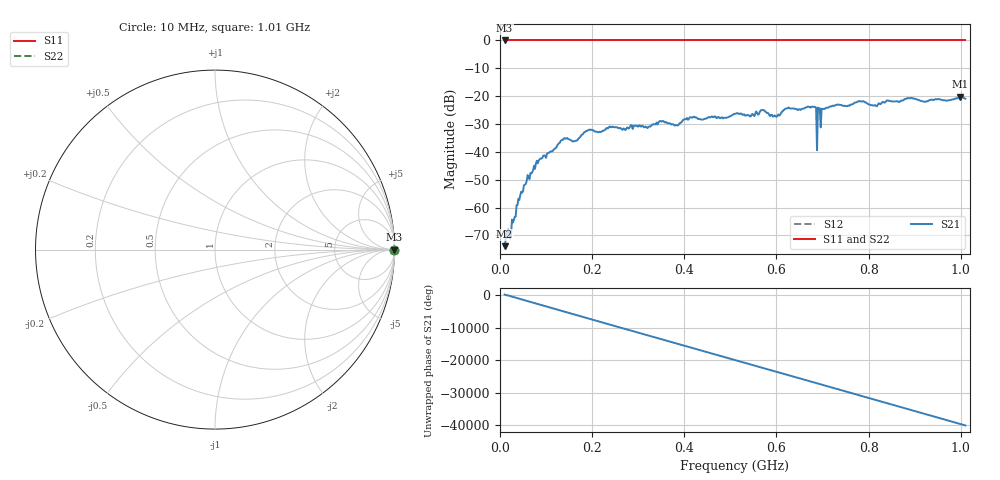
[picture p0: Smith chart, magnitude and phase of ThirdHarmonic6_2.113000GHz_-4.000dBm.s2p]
! 8/17/2025 1:15:55 AM
! C:\ANRITSUVNA\TEMP\TEMP.S2P
! CHANNEL.1
! TR.MEASUREMENT
! RAW.DATA
! RF.CORRECTION.OFF
! AVERAGING.OFF
! IF.BANDWIDTH: 5KHZ
! SWEEPTYPE:  FREQ.SWEEP(Linear)
! Reference Plane Port Info
! PORT:  PORT1  PORT2
! DISTANCE:  0  m  0  m
! TIME:  0  s  0  s
! PHASE.OFFSET:  0  deg.  0  deg.
! LOSS:  0  dB  0  dB
! REF.LOSS:  0  dB  0  dB
! REF.FREQ:  0  Hz  0  Hz
! Power Info
! POWER:  -20  dBm  -20  dBm
! EFF.POWER:  -20  dBm  -20  dBm
! SOURCE.ATTEN:  0  dB  0  dB
! TEST.ATTEN:  0  dB  0  dB
# GHZ S RI R 50.0
! FREQ.GHZ  S11RE  S11IM  S21RE  S21IM  S12RE  S12IM  S22RE  S22IM
!; PortSelection: Port_12
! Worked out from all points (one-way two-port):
!   501 points, 10 MHz to 1.01 GHz, reference 50 ohm
!   highest |S21| = -20.18 dB at 998 MHz (marker M1); lowest = -73.8 dB at 10 MHz (marker M2)
!   lowest |S11| = 0.0 dB at 10 MHz (marker M3)
!   |S11| at or under -10 dB: nowhere
!   |S22| runs from 0.0 to 0.0 dB; largest |S21 - S12| = 1.1
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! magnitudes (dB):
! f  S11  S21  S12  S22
! 10 MHz  0.0  -73.8  0.0  0.0
! 24 MHz  0.0  -69.8  0.0  0.0
! 40 MHz  0.0  -56.8  0.0  0.0
! 56 MHz  0.0  -51.5  0.0  0.0
! 82 MHz  0.0  -44.1  0.0  0.0
! 136 MHz  0.0  -35.7  0.0  0.0
! 162 MHz  0.0  -36.1  0.0  0.0
! 178 MHz  0.0  -33.8  0.0  0.0
! 344 MHz  0.0  -29.4  0.0  0.0
! 382 MHz  0.0  -30.4  0.0  0.0
! 416 MHz  0.0  -27.7  0.0  0.0
! 510 MHz  0.0  -26.3  0.0  0.0
! 570 MHz  0.0  -24.9  0.0  0.0
! 598 MHz  0.0  -27.2  0.0  0.0
! 622 MHz  0.0  -24.4  0.0  0.0
! 678 MHz  0.0  -23.7  0.0  0.0
! 692 MHz  0.0  -24.3  0.0  0.0
! 694 MHz  0.0  -24.4  0.0  0.0
! 720 MHz  0.0  -23.6  0.0  0.0
! 844 MHz  0.0  -21.7  0.0  0.0
! 998 MHz  0.0  -20.2  0.0  0.0
! 1.01 GHz  0.0  -20.9  0.0  0.0
